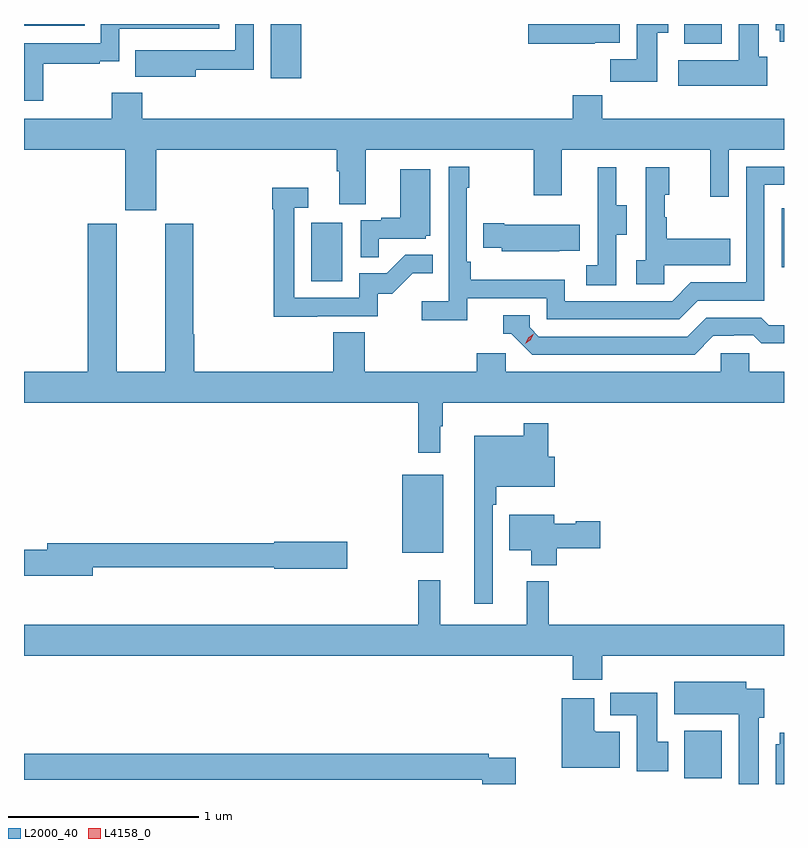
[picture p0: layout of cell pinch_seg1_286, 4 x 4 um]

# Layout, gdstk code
import gdstk
lib = gdstk.Library(unit=1e-6, precision=1e-09)
def R(c, l, rs):  # rectangles x0, y0, x1, y1
    for r in rs: c.add(gdstk.rectangle(r[:2], r[2:], *l))
def P(c, l, *ps):  # polygons
    for p in ps: c.add(gdstk.Polygon(p, *l))
L2000_40 = (2000, 40)
L4158_0 = (4158, 0)

pinch_seg1_286 = lib.new_cell('pinch_seg1_286')
R(pinch_seg1_286, L2000_40, [(936.071,544.428,936.267,544.678), (934.586,545.615,934.801,546.025), (934.106,547.044,934.27,547.351), (936.582,547.119,936.595,547.428), (933.893,548.112,934.054,548.398), (936.071,548.294,936.268,548.398), (932.595,548.388,932.915,548.398)])
P(pinch_seg1_286, L2000_40, [(933.499,548.158),(933.804,548.158),(933.804,548.398),(933.708,548.398),(933.708,548.259),(933.395,548.259),(933.395,548.26),(933.181,548.26),(933.181,548.12),(933.499,548.12)],
  [(936.508,548.226),(936.463,548.226),(936.463,548.398),(936.356,548.398),(936.356,548.206),(936.039,548.206),(936.039,548.072),(936.508,548.072)],
  [(935.929,548.353),(935.986,548.353),(935.986,548.398),(935.819,548.398),(935.819,548.212),(935.68,548.212),(935.68,548.094),(935.929,548.094)],
  [(932.695,548.19),(932.993,548.19),(932.993,548.201),(933.096,548.201),(933.096,548.373),(933.622,548.373),(933.622,548.398),(933,548.398),(933,548.298),(932.595,548.298),(932.595,547.995),(932.695,547.995)],
  [(935.598,548.3),(935.731,548.3),(935.731,548.398),(935.25,548.398),(935.25,548.294),(935.598,548.294)],
  [(936.595,548.398),(936.551,548.398),(936.551,548.364),(936.572,548.364),(936.572,548.304),(936.595,548.304)],
  [(933.292,547.736),(934.241,547.736),(934.241,547.624),(934.253,547.624),(934.253,547.45),(934.393,547.45),(934.393,547.736),(935.278,547.736),(935.278,547.497),(935.425,547.497),(935.425,547.736),(936.206,547.736),(936.206,547.488),(936.303,547.488),(936.303,547.736),(936.595,547.736),(936.595,547.9),(935.639,547.9),(935.639,548.024),(935.483,548.024),(935.483,547.9),(933.218,547.9),(933.218,548.035),(933.058,548.035),(933.058,547.9),(932.595,547.9),(932.595,547.736),(933.128,547.736),(933.128,547.419),(933.292,547.419)],
  [(934.928,546.954),(935.346,546.954),(935.346,546.843),(936.043,546.843),(936.142,546.942),(936.492,546.942),(936.492,547.551),(936.595,547.551),(936.595,547.647),(936.396,547.647),(936.396,547.038),(936.105,547.038),(936.006,546.939),(935.442,546.939),(935.442,547.051),(934.946,547.051),(934.946,547.147),(934.926,547.147),(934.926,547.535),(934.939,547.535),(934.939,547.648),(934.83,547.648),(934.83,546.94),(934.689,546.94),(934.689,546.838),(934.928,546.838)],
  [(935.964,547.127),(936.311,547.127),(936.311,547.267),(935.977,547.267),(935.977,547.382),(935.967,547.382),(935.967,547.5),(935.992,547.5),(935.992,547.645),(935.868,547.645),(935.868,547.154),(935.817,547.154),(935.817,547.029),(935.964,547.029)],
  [(935.712,547.288),(935.767,547.288),(935.767,547.443),(935.713,547.443),(935.713,547.645),(935.615,547.645),(935.615,547.431),(935.616,547.431),(935.616,547.127),(935.553,547.127),(935.553,547.024),(935.712,547.024)],
  [(934.463,547.269),(934.71,547.269),(934.71,547.284),(934.732,547.284),(934.732,547.633),(934.574,547.633),(934.574,547.378),(934.475,547.378),(934.475,547.365),(934.368,547.365),(934.368,547.171),(934.463,547.171)],
  [(934.139,546.861),(934.458,546.861),(934.458,546.978),(934.534,546.978),(934.641,547.085),(934.745,547.085),(934.745,547.184),(934.601,547.184),(934.503,547.086),(934.359,547.086),(934.359,546.957),(934.017,546.957),(934.017,547.431),(934.09,547.431),(934.09,547.537),(933.901,547.537),(933.901,547.424),(933.909,547.424),(933.909,546.856),(934.139,546.856)],
  [(935.411,547.205),(935.519,547.205),(935.519,547.342),(935.122,547.342),(935.122,547.35),(935.011,547.35),(935.011,547.22),(935.109,547.22),(935.109,547.202),(935.411,547.202)],
  [(934.223,546.776),(934.223,546.568),(933.491,546.568),(933.491,546.764),(933.486,546.764),(933.486,547.347),(933.338,547.347),(933.338,546.568),(933.082,546.568),(933.082,547.347),(932.93,547.347),(932.93,546.568),(932.595,546.568),(932.595,546.404),(934.669,546.404),(934.669,546.141),(934.786,546.141),(934.786,546.281),(934.798,546.281),(934.798,546.404),(936.595,546.404),(936.595,546.568),(936.411,546.568),(936.411,546.666),(936.261,546.666),(936.261,546.568),(935.13,546.568),(935.13,546.666),(934.979,546.666),(934.979,546.568),(934.388,546.568),(934.388,546.776)],
  [(936.223,546.756),(936.33,546.756),(936.33,546.759),(936.433,546.759),(936.475,546.717),(936.595,546.717),(936.595,546.813),(936.514,546.813),(936.475,546.852),(936.186,546.852),(936.087,546.753),(935.304,546.753),(935.256,546.801),(935.256,546.864),(935.117,546.864),(935.117,546.768),(935.16,546.768),(935.271,546.657),(936.124,546.657)],
  [(935.061,545.867),(935.081,545.867),(935.081,545.963),(935.389,545.963),(935.389,546.121),(935.354,546.121),(935.354,546.298),(935.226,546.298),(935.226,546.232),(934.964,546.232),(934.964,545.346),(935.061,545.346)],
  [(935.399,545.638),(935.629,545.638),(935.629,545.78),(935.499,545.78),(935.499,545.767),(935.386,545.767),(935.386,545.815),(935.15,545.815),(935.15,545.627),(935.264,545.627),(935.264,545.549),(935.399,545.549)],
  [(932.956,545.538),(933.912,545.538),(933.912,545.53),(934.297,545.53),(934.297,545.672),(933.912,545.672),(933.912,545.666),(932.717,545.666),(932.717,545.63),(932.595,545.63),(932.595,545.495),(932.956,545.495)],
  [(935.639,545.072),(936.595,545.072),(936.595,545.236),(935.357,545.236),(935.357,545.464),(935.24,545.464),(935.24,545.236),(934.787,545.236),(934.787,545.47),(934.669,545.47),(934.669,545.236),(932.595,545.236),(932.595,545.072),(935.483,545.072),(935.483,544.948),(935.639,544.948)],
  [(936.463,544.746),(936.49,544.746),(936.49,544.9),(936.397,544.9),(936.397,544.936),(936.017,544.936),(936.017,544.766),(936.356,544.766),(936.356,544.398),(936.463,544.398)],
  [(935.986,544.62),(935.929,544.62),(935.929,544.878),(935.681,544.878),(935.681,544.76),(935.819,544.76),(935.819,544.464),(935.986,544.464)],
  [(935.731,544.672),(935.602,544.672),(935.602,544.678),(935.596,544.678),(935.596,544.849),(935.426,544.849),(935.426,544.484),(935.731,544.484)],
  [(936.595,544.669),(936.572,544.669),(936.572,544.608),(936.551,544.608),(936.551,544.398),(936.595,544.398)],
  [(935.184,544.536),(935.042,544.536),(935.042,544.556),(932.595,544.556),(932.595,544.42),(935.006,544.42),(935.006,544.398),(935.184,544.398)])
P(pinch_seg1_286, L4158_0, [(935.232,546.715),(935.232,546.715),(935.248,546.748),(935.279,546.768),(935.279,546.768),(935.279,546.768),(935.263,546.735),(935.232,546.715)])

lib.write_gds('pinch_seg1_286.gds')
